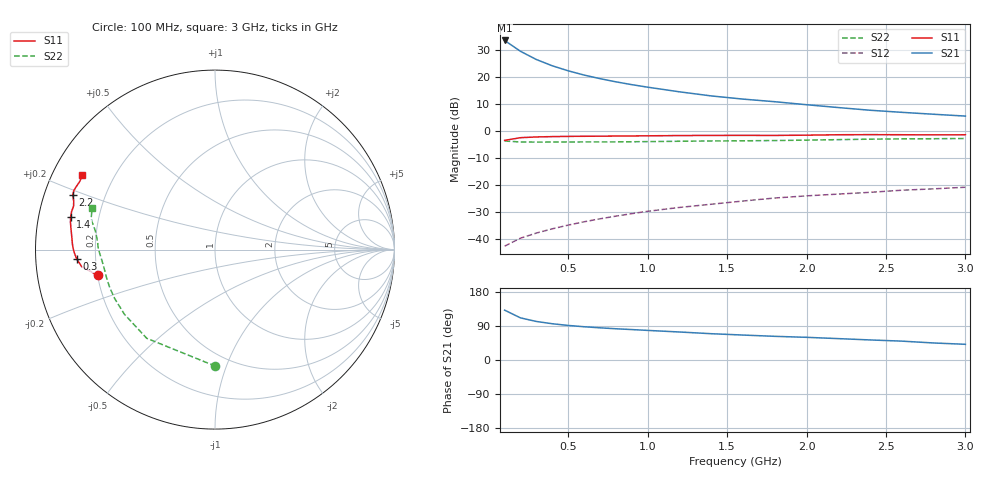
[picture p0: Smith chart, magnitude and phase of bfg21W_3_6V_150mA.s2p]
! Filename: 3_6150bfg21.001
! Title: BFG21W
! Bias: Vce=3.6V; Ic=150mA
! Company: Philips Semiconductors NL
! User: Quality&Reliability T&D
! Measure time: 10 Nov 1999 / 11:44:50
#  MHz  S  MA  R 50
! Freq  S11  S21  S12  S22  :
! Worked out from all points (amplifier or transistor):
!   20 points, 100 MHz to 3 GHz, reference 50 ohm
!   highest |S21| = 33.5 dB at 100 MHz (marker M1)
!   |S21| within 3 dB of that: start of sweep to 174.6 MHz
!   unconditionally stable (mu >= 1): 591.4 MHz to end of sweep
!   at 400 MHz: K = 0.92, MSG = 30.2 dB, |S12| = -36.3 dB
!   at 1.2 GHz: K = 1.06, MAG = 19.9 dB, |S12| = -28.4 dB
!   at 3 GHz: K = 1.05, MAG = 11.8 dB, |S12| = -20.9 dB
!   S11 on the Smith chart (normalised r, x): 100 MHz: 0.20, -0.10; 300 MHz: 0.13, -0.03; 1.4 GHz: 0.10, +0.11; 2.2 GHz: 0.08, +0.18; 3 GHz: 0.09, +0.26
100  0.6682 -167.6  47.39 131.6  0.00731 57.9  0.6494 -89.8
200  0.7485 -172.7  29.83 111.1  0.0103 55.6  0.6236 -127.6
300  0.7723 -176.1  21 101.7  0.01279 59.5  0.6201 -144.5
400  0.7835 -178.6  16.08 95.7  0.01533 63.0  0.6219 -153.8
500  0.7907 179.5  12.99 91.2  0.01796 65.5  0.6233 -159.8
600  0.795 177.8  10.83 87.8  0.02068 67.7  0.6241 -164.0
700  0.7981 176.2  9.298 84.9  0.02347 69.3  0.6245 -167.2
800  0.8018 174.6  8.114 82.4  0.02632 70.7  0.6259 -170.0
900  0.8059 173.2  7.196 80.3  0.02928 72.0  0.629 -172.4
1000  0.8105 171.9  6.459 78.1  0.03236 72.5  0.6329 -174.5
1200  0.8192 169.4  5.299 73.9  0.03816 73.2  0.6424 -178.0
1400  0.8245 167.4  4.448 69.4  0.04374 73.3  0.6508 179.2
1600  0.8265 165.2  3.882 65.8  0.05015 73.4  0.655 176.7
1800  0.8244 162.8  3.473 62.5  0.05703 73.2  0.6627 174.0
2000  0.8329 161.0  3.054 59.8  0.06252 73.5  0.6743 171.2
2200  0.8481 159.1  2.706 56.4  0.06746 73.2  0.6885 169.0
2400  0.8525 157.3  2.413 52.9  0.07271 72.2  0.7026 167.3
2600  0.8487 155.5  2.207 49.8  0.07953 71.1  0.7119 165.8
2800  0.8435 153.2  2.034 44.9  0.08438 69.3  0.7159 163.8
3000  0.8471 150.7  1.881 41.4  0.09033 68.3  0.7227 161.3
